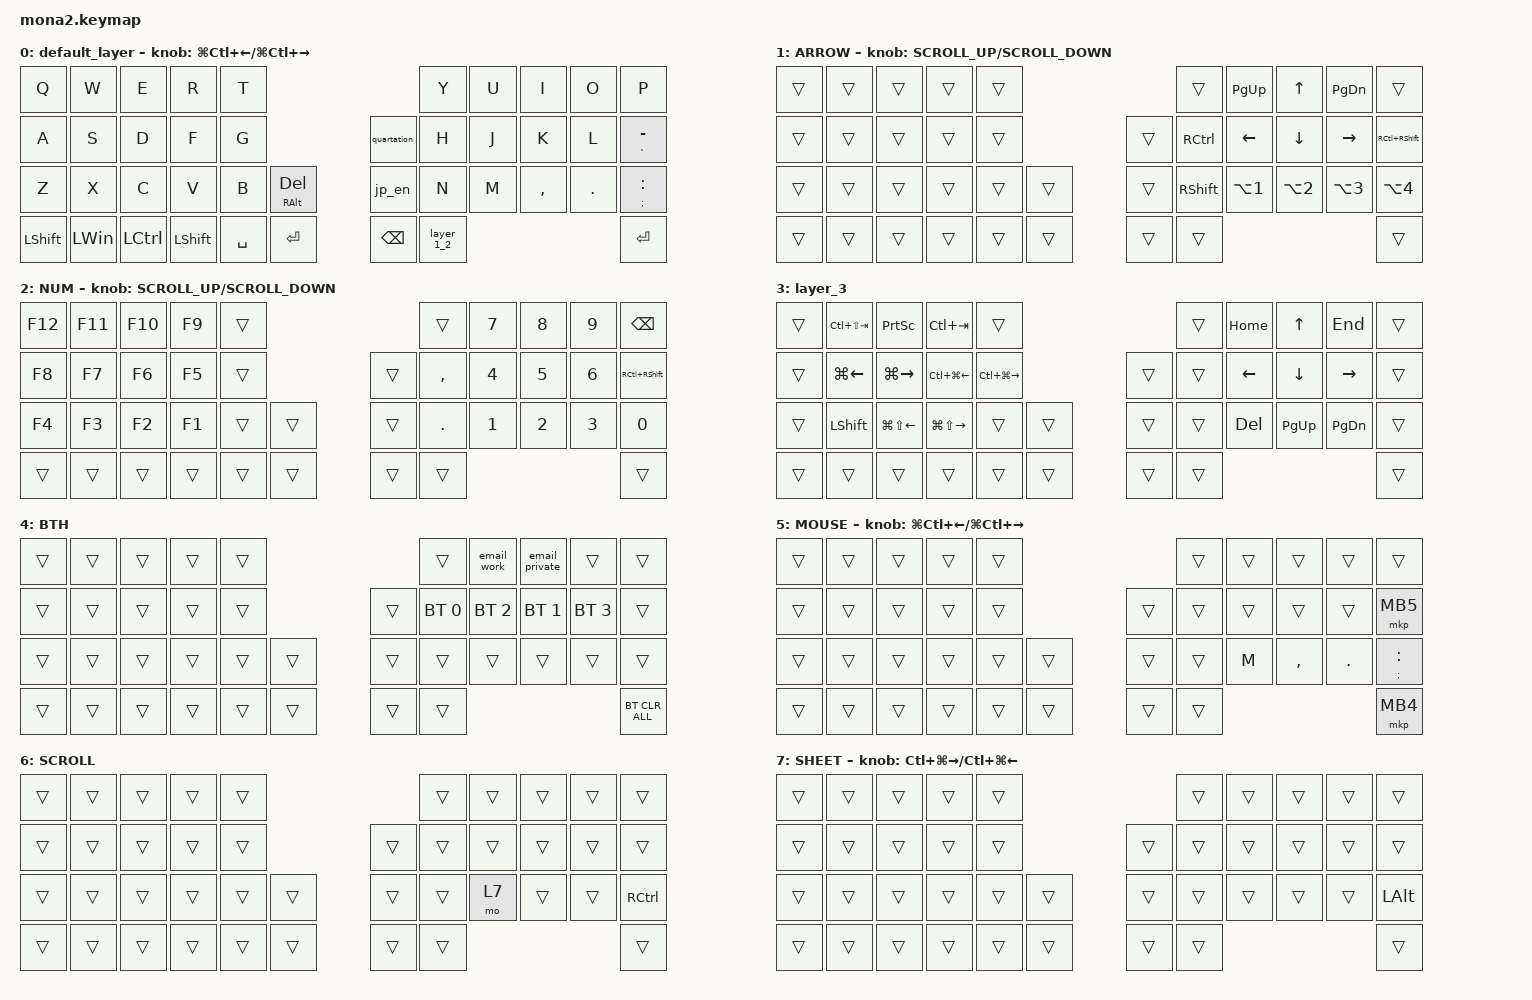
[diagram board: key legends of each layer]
#include <input/processors.dtsi>
#include <dt-bindings/zmk/input_transform.h>
#include <zephyr/dt-bindings/input/input-event-codes.h>
#include <behaviors.dtsi>
#include <dt-bindings/zmk/bt.h>
#include <dt-bindings/zmk/keys.h>
#include <dt-bindings/zmk/pointing.h>

#define ZMK_POINTING_DEFAULT_SCRL_VAL 100
#define MOUSE 5
#define SCROLL 6

&mt {
    flavor = "balanced";
    quick-tap-ms = <0>;
};

&lt {
    quick-tap-ms = <300>;
    flavor = "balanced";
};

/ {
    combos {
        compatible = "zmk,combos";

        tab {
            bindings = <&kp TAB>;
            key-positions = <0 10>;
        };

        eq {
            bindings = <&kp EQUAL>;
            key-positions = <6 7>;
        };

        L_PAR {
            bindings = <&kp LEFT_PARENTHESIS>;
            key-positions = <11 12>;
        };

        R_PAR {
            bindings = <&kp RIGHT_PARENTHESIS>;
            key-positions = <12 13>;
        };

        L_BRK {
            bindings = <&kp LEFT_BRACKET>;
            key-positions = <1 2>;
        };

        R_BRK {
            bindings = <&kp RIGHT_BRACKET>;
            key-positions = <2 3>;
        };

        RF_F2 {
            bindings = <&kp F2>;
            key-positions = <3 13>;
        };

        DE_F4 {
            bindings = <&kp F4>;
            key-positions = <2 12>;
        };

        CTRL_C {
            bindings = <&kp LC(C)>;
            key-positions = <12 23>;
        };

        CTRL_SFT_V {
            bindings = <&kp LS(LC(V))>;
            key-positions = <13 24>;
        };

        CTRL_ALT_V {
            bindings = <&kp RC(RA(V))>;
            key-positions = <22 23 24>;
        };

        CTRL_V {
            bindings = <&kp LC(V)>;
            key-positions = <24 23>;
        };

        SC_HASH {
            bindings = <&kp HASH>;
            key-positions = <9 20>;
        };

        OL_DOLLAR {
            bindings = <&kp DOLLAR>;
            key-positions = <8 19>;
        };

        IK_PCT {
            bindings = <&kp PERCENT>;
            key-positions = <7 18>;
        };

        UJ_AND {
            bindings = <&kp AMPERSAND>;
            key-positions = <6 17>;
        };

        JM_STAR {
            bindings = <&kp ASTERISK>;
            key-positions = <17 29>;
        };

        CTRL_SFT_K {
            bindings = <&kp LS(LC(K))>;
            key-positions = <18 30>;
        };

        SC_PLUS {
            bindings = <&kp PLUS>;
            key-positions = <7 8>;
        };

        CTRL_SFT_L {
            bindings = <&kp LS(LC(L))>;
            key-positions = <19 31>;
        };

        SC_SLASH {
            bindings = <&kp SLASH>;
            key-positions = <8 9>;
        };

        CTRL_SFT_X {
            bindings = <&kp LS(LC(X))>;
            key-positions = <14 13>;
        };

        SC_EXC {
            bindings = <&kp EXCLAMATION>;
            key-positions = <17 18>;
        };

        SC_QUESTION {
            bindings = <&kp QUESTION>;
            key-positions = <18 19>;
        };

        WIN_E {
            bindings = <&kp LG(E)>;
            key-positions = <0 1 2>;
        };

        CTRL_Z {
            bindings = <&kp LC(Z)>;
            key-positions = <21 22>;
        };

        SC_F12 {
            bindings = <&kp F12>;
            key-positions = <1 11>;
        };

        MO_BTH {
            bindings = <&mo 4>;
            key-positions = <15 27>;
        };

        MO_SCR {
            bindings = <&mo 6>;
            key-positions = <31 30>;
        };

        CTRL_X {
            bindings = <&kp LC(X)>;
            key-positions = <22 11>;
        };

        SC_SFT {
            bindings = <&kp LSHFT>;
            key-positions = <10 11>;
        };

        SC_SCS_ESC {
            bindings = <&mt LG(LS(S)) ESCAPE>;
            key-positions = <0 1>;
        };

        CTRL_Y {
            bindings = <&kp LC(Y)>;
            key-positions = <6 5>;
        };

        GRPING {
            bindings = <&kp LS(LA(RIGHT_ARROW))>;
            key-positions = <7 19>;
        };

        UNGRPING {
            bindings = <&kp LS(LA(LEFT_ARROW))>;
            key-positions = <7 17>;
        };

        SC_CTRL {
            bindings = <&kp LCTRL>;
            key-positions = <10 21>;
        };

        CTRL_SFT_R {
            bindings = <&kp LS(LC(R))>;
            key-positions = <3 2 1>;
        };

        MO_SHEET {
            bindings = <&mo 7>;
            key-positions = <31 30 29>;
        };

        at {
            bindings = <&hankaku_at>;
            key-positions = <20 19>;
        };

        ctrl_sht {
            bindings = <&kp LS(LCTRL)>;
            key-positions = <10 11 12>;
        };

        mb1 {
            bindings = <&mkp MB1>;
            key-positions = <29 30>;
            layers = <5>;
        };

        mb3 {
            bindings = <&mkp MB3>;
            key-positions = <30 31 32>;
            layers = <5>;
        };

        mb2 {
            bindings = <&mkp MB2>;
            key-positions = <31 32>;
            layers = <5>;
        };

        Win_tab {
            bindings = <&kp LG(TAB)>;
            key-positions = <33 34 35>;
        };
    };

    macros {
        email_work: email_work {
            compatible = "zmk,behavior-macro";
            #binding-cells = <0>;
            bindings = <&kp LANGUAGE_2 &kp H &kp I &kp R &kp O &kp K &kp I &kp N &kp A &kp K &kp A &kp J &kp O &kp AT &kp K &kp P &kp M &kp G &kp DOT &kp C &kp O &kp M>;
            label = "EMAIL_WORK";
        };

        email_private: email_private {
            compatible = "zmk,behavior-macro";
            #binding-cells = <0>;
            bindings = <&kp LANGUAGE_2 &kp H &kp DOT &kp N &kp A &kp K &kp A &kp J &kp O &kp N0 &kp N8 &kp N2 &kp N4 &kp AT &kp G &kp M &kp A &kp I &kp L &kp DOT &kp C &kp O &kp M>;
            label = "EMAIL_PRIVATE";
        };

        hankaku_at: hankaku_at {
            compatible = "zmk,behavior-macro";
            #binding-cells = <0>;
            bindings = <&kp LANGUAGE_2 &kp AT>;
            label = "HANKAKU_AT";
        };
    };

    behaviors {
        layer_1_2: layer_1_2 {
            compatible = "zmk,behavior-tap-dance";
            label = "LAYER_1_2";
            #binding-cells = <0>;
            bindings = <&mo 1>, <&mo 2>;

            tapping-term-ms = <300>;
        };

        quartation: quartation {
            compatible = "zmk,behavior-tap-dance";
            label = "QUARTATION";
            #binding-cells = <0>;
            bindings = <&kp SQT>, <&kp DOUBLE_QUOTES>;

            tapping-term-ms = <250>;
        };

        jp_en: jp_en {
            compatible = "zmk,behavior-tap-dance";
            label = "JP_EN";
            #binding-cells = <0>;
            bindings = <&kp LANG1>, <&kp LANG2>;

            tapping-term-ms = <250>;
        };
    };

    keymap {
        compatible = "zmk,keymap";

        default_layer {
            bindings = <
&kp Q           &kp W         &kp E      &kp R           &kp T                                             &kp Y       &kp U  &kp I      &kp O    &kp P
&kp A           &kp S         &kp D      &kp F           &kp G                              &quartation    &kp H       &kp J  &kp K      &kp L    &mt GRAVE MINUS
&kp Z           &kp X         &kp C      &kp V           &kp B      &mt RIGHT_ALT DELETE    &jp_en         &kp N       &kp M  &kp COMMA  &kp DOT  &mt SEMICOLON COLON
&kp LEFT_SHIFT  &kp LEFT_WIN  &kp LCTRL  &kp LEFT_SHIFT  &kp SPACE  &kp ENTER               &kp BACKSPACE  &layer_1_2                             &kp ENTER
            >;

            sensor-bindings = <&inc_dec_kp LG(LC(LEFT)) LG(LC(RIGHT))>;
        };

        ARROW {
            bindings = <
&trans  &trans  &trans  &trans  &trans                    &trans           &kp PG_UP         &kp UP_ARROW      &kp PAGE_DOWN     &trans
&trans  &trans  &trans  &trans  &trans            &trans  &kp RCTRL        &kp LEFT_ARROW    &kp DOWN_ARROW    &kp RIGHT_ARROW   &kp RC(RIGHT_SHIFT)
&trans  &trans  &trans  &trans  &trans  &trans    &trans  &kp RIGHT_SHIFT  &kp LA(NUMBER_1)  &kp LA(NUMBER_2)  &kp LA(NUMBER_3)  &kp LA(NUMBER_4)
&trans  &trans  &trans  &trans  &trans  &trans    &trans  &trans                                                                 &trans
            >;

            sensor-bindings = <&inc_dec_kp K_SCROLL_UP K_SCROLL_DOWN>;
        };

        NUM {
            bindings = <
&kp F12  &kp F11  &kp F10  &kp F9  &trans                    &trans     &kp N7        &kp N8        &kp N9        &kp BACKSPACE
&kp F8   &kp F7   &kp F6   &kp F5  &trans            &trans  &kp COMMA  &kp NUMBER_4  &kp N5        &kp NUMBER_6  &kp RC(RIGHT_SHIFT)
&kp F4   &kp F3   &kp F2   &kp F1  &trans  &trans    &trans  &kp DOT    &kp NUMBER_1  &kp NUMBER_2  &kp NUMBER_3  &kp N0
&trans   &trans   &trans   &trans  &trans  &trans    &trans  &trans                                               &trans
            >;

            sensor-bindings = <&inc_dec_kp K_SCROLL_UP K_SCROLL_DOWN>;
        };

        layer_3 {
            bindings = <
&trans  &kp LC(LS(TAB))     &kp PRINTSCREEN         &kp LC(TAB)              &trans                                     &trans  &kp HOME        &kp UP_ARROW    &kp END          &trans
&trans  &kp LG(LEFT_ARROW)  &kp LG(RIGHT_ARROW)     &kp LC(LG(LEFT_ARROW))   &kp LC(LG(RIGHT_ARROW))            &trans  &trans  &kp LEFT_ARROW  &kp DOWN_ARROW  &kp RIGHT_ARROW  &trans
&trans  &kp LEFT_SHIFT      &kp LG(LS(LEFT_ARROW))  &kp LG(LS(RIGHT_ARROW))  &trans                   &trans    &trans  &trans  &kp DELETE      &kp PAGE_UP     &kp PAGE_DOWN    &trans
&trans  &trans              &trans                  &trans                   &trans                   &trans    &trans  &trans                                                   &trans
            >;
        };

        BTH {
            bindings = <
&trans  &trans  &trans  &trans  &trans                    &trans        &email_work   &email_private  &trans        &trans
&trans  &trans  &trans  &trans  &trans            &trans  &bt BT_SEL 0  &bt BT_SEL 2  &bt BT_SEL 1    &bt BT_SEL 3  &trans
&trans  &trans  &trans  &trans  &trans  &trans    &trans  &trans        &trans        &trans          &trans        &trans
&trans  &trans  &trans  &trans  &trans  &trans    &trans  &trans                                                    &bt BT_CLR_ALL
            >;
        };

        MOUSE {
            bindings = <
&trans  &trans  &trans  &trans  &trans                    &trans  &trans  &trans     &trans   &trans
&trans  &trans  &trans  &trans  &trans            &trans  &trans  &trans  &trans     &trans   &mkp MB5
&trans  &trans  &trans  &trans  &trans  &trans    &trans  &trans  &kp M   &kp COMMA  &kp DOT  &mt SEMI COLON
&trans  &trans  &trans  &trans  &trans  &trans    &trans  &trans                              &mkp MB4
            >;

            sensor-bindings = <&inc_dec_kp LG(LC(LEFT_ARROW)) LG(LC(RIGHT_ARROW))>;
        };

        SCROLL {
            bindings = <
&trans  &trans  &trans  &trans  &trans                    &trans  &trans  &trans  &trans  &trans
&trans  &trans  &trans  &trans  &trans            &trans  &trans  &trans  &trans  &trans  &trans
&trans  &trans  &trans  &trans  &trans  &trans    &trans  &trans  &mo 7   &trans  &trans  &kp RCTRL
&trans  &trans  &trans  &trans  &trans  &trans    &trans  &trans                          &trans
            >;
        };

        SHEET {
            bindings = <
&trans  &trans  &trans  &trans  &trans                    &trans  &trans  &trans  &trans  &trans
&trans  &trans  &trans  &trans  &trans            &trans  &trans  &trans  &trans  &trans  &trans
&trans  &trans  &trans  &trans  &trans  &trans    &trans  &trans  &trans  &trans  &trans  &kp LEFT_ALT
&trans  &trans  &trans  &trans  &trans  &trans    &trans  &trans                          &trans
            >;

            sensor-bindings = <&inc_dec_kp LC(LG(RIGHT_ARROW)) LC(LG(LEFT_ARROW))>;
        };
    };
};
